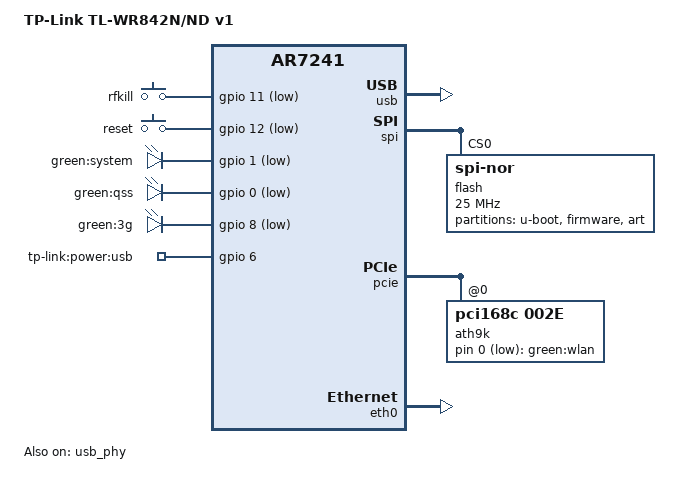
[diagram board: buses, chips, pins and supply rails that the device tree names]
// SPDX-License-Identifier: GPL-2.0-or-later OR MIT

#include "ar7241.dtsi"

#include <dt-bindings/gpio/gpio.h>
#include <dt-bindings/input/input.h>

/ {
	compatible = "tplink,tl-wr842n-v1", "qca,ar7241";
	model = "TP-Link TL-WR842N/ND v1";

	aliases {
		led-boot = &led_system;
		led-failsafe = &led_system;
		led-running = &led_system;
		led-upgrade = &led_system;
		label-mac-device = &ath9k;
	};

	keys {
		compatible = "gpio-keys";

		rfkill {
			label = "rfkill";
			linux,code = <KEY_RFKILL>;
			gpios = <&gpio 11 GPIO_ACTIVE_LOW>;
			debounce-interval = <60>;
		};

		reset {
			label = "reset";
			linux,code = <KEY_RESTART>;
			gpios = <&gpio 12 GPIO_ACTIVE_LOW>;
			debounce-interval = <60>;
		};
	};

	leds {
		compatible = "gpio-leds";

		led_system: system {
			label = "green:system";
			gpios = <&gpio 1 GPIO_ACTIVE_LOW>;
		};

		qss {
			label = "green:qss";
			gpios = <&gpio 0 GPIO_ACTIVE_LOW>;
		};

		led3g {
			label = "green:3g";
			gpios = <&gpio 8 GPIO_ACTIVE_LOW>;
			trigger-sources = <&hub_port>;
			linux,default-trigger = "usbport";
		};
	};

	ath9k-leds {
		compatible = "gpio-leds";

		wlan {
			label = "green:wlan";
			gpios = <&ath9k 0 GPIO_ACTIVE_LOW>;
			linux,default-trigger = "phy0tpt";
		};
	};

	gpio-export {
		compatible = "gpio-export";

		gpio_usb_power {
			gpio-export,name = "tp-link:power:usb";
			gpio-export,output = <1>;
			gpios = <&gpio 6 GPIO_ACTIVE_HIGH>;
		};
	};
};

&usb {
	#address-cells = <1>;
	#size-cells = <0>;
	status = "okay";

	hub_port: port@1 {
		reg = <1>;
		#trigger-source-cells = <0>;
	};
};

&usb_phy {
	status = "okay";
};

&spi {
	status = "okay";

	flash@0 {
		compatible = "jedec,spi-nor";
		reg = <0>;
		spi-max-frequency = <25000000>;

		partitions {
			compatible = "fixed-partitions";
			#address-cells = <1>;
			#size-cells = <1>;

			uboot: partition@0 {
				reg = <0x0 0x20000>;
				label = "u-boot";
				read-only;
			};

			partition@20000 {
				compatible = "tplink,firmware";
				reg = <0x20000 0x7d0000>;
				label = "firmware";
			};

			partition@7f0000 {
				reg = <0x7f0000 0x10000>;
				label = "art";
				read-only;
			};
		};
	};
};

&pcie {
	status = "okay";

	ath9k: wifi@0,0 {
		compatible = "pci168c,002e";
		reg = <0x0000 0 0 0 0>;
		#gpio-cells = <2>;
		gpio-controller;
		qca,no-eeprom;
		nvmem-cells = <&macaddr_uboot_1fc00>;
		nvmem-cell-names = "mac-address";
	};
};

&eth0 {
	status = "okay";

	nvmem-cells = <&macaddr_uboot_1fc00>;
	nvmem-cell-names = "mac-address";
	mac-address-increment = <(-1)>;
};

&eth1 {
	nvmem-cells = <&macaddr_uboot_1fc00>;
	nvmem-cell-names = "mac-address";
	mac-address-increment = <1>;
};

&uboot {
	compatible = "nvmem-cells";
	#address-cells = <1>;
	#size-cells = <1>;

	macaddr_uboot_1fc00: macaddr@1fc00 {
		reg = <0x1fc00 0x6>;
	};
};
